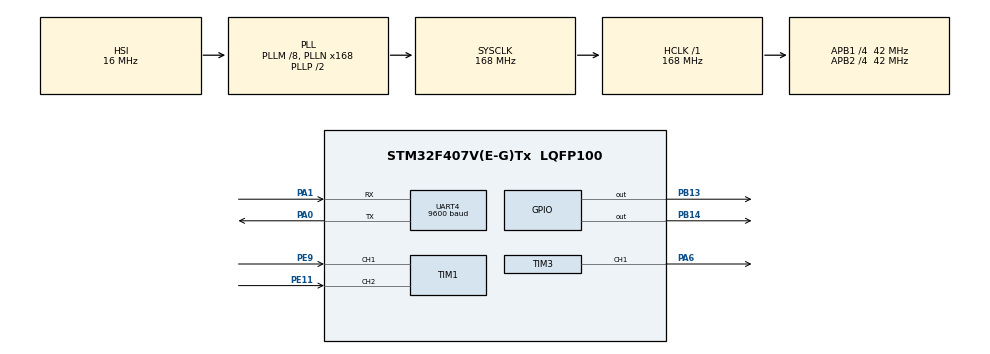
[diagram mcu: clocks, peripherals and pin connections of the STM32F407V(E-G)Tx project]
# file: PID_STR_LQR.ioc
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Dma.Request0=UART4_TX
Dma.UART4_TX.0.Direction=DMA_MEMORY_TO_PERIPH
Dma.UART4_TX.0.FIFOMode=DMA_FIFOMODE_DISABLE
Dma.UART4_TX.0.Instance=DMA1_Stream4
Dma.UART4_TX.0.MemDataAlignment=DMA_MDATAALIGN_BYTE
Dma.UART4_TX.0.MemInc=DMA_MINC_ENABLE
Dma.UART4_TX.0.Mode=DMA_NORMAL
Dma.UART4_TX.0.PeriphDataAlignment=DMA_PDATAALIGN_BYTE
Dma.UART4_TX.0.PeriphInc=DMA_PINC_DISABLE
Dma.UART4_TX.0.Priority=DMA_PRIORITY_HIGH
Mcu.Family=STM32F4
Mcu.Name=STM32F407V(E-G)Tx
Mcu.Package=LQFP100
NVIC.DMA1_Stream4_IRQn=true\:0\:0\:false\:false\:true\:false\:true\:true
NVIC.PriorityGroup=NVIC_PRIORITYGROUP_4
NVIC.TIM4_IRQn=true\:1\:0\:true\:false\:true\:true\:true\:true
NVIC.UART4_IRQn=true\:0\:0\:false\:false\:true\:true\:true\:true
PA0-WKUP.Mode=Asynchronous
PA0-WKUP.Signal=UART4_TX
PA1.Mode=Asynchronous
PA1.Signal=UART4_RX
PA13.Mode=Serial_Wire
PA13.Signal=SYS_JTMS-SWDIO
PA14.Mode=Serial_Wire
PA14.Signal=SYS_JTCK-SWCLK
PA6.Signal=S_TIM3_CH1
PB13.Signal=GPIO_Output
PB14.Signal=GPIO_Output
PE11.Signal=S_TIM1_CH2
PE9.Signal=S_TIM1_CH1
PH0-OSC_IN.Mode=HSE-External-Oscillator
PH0-OSC_IN.Signal=RCC_OSC_IN
PH1-OSC_OUT.Mode=HSE-External-Oscillator
PH1-OSC_OUT.Signal=RCC_OSC_OUT
ProjectManager.HeapSize=0x200
ProjectManager.StackSize=0x400
ProjectManager.TargetToolchain=STM32CubeIDE
RCC.48MHZClocksFreq_Value=84000000
RCC.AHBFreq_Value=168000000
RCC.APB1CLKDivider=RCC_HCLK_DIV4
RCC.APB1Freq_Value=42000000
RCC.APB1TimFreq_Value=84000000
RCC.APB2CLKDivider=RCC_HCLK_DIV4
RCC.APB2Freq_Value=42000000
RCC.APB2TimFreq_Value=84000000
RCC.CortexFreq_Value=168000000
RCC.HCLKFreq_Value=168000000
RCC.HSE_VALUE=8000000
RCC.HSI_VALUE=16000000
RCC.LSE_VALUE=32768
RCC.PLLM=8
RCC.PLLN=168
RCC.SYSCLKFreq_VALUE=168000000
RCC.SYSCLKSource=RCC_SYSCLKSOURCE_PLLCLK
RCC.VCOOutputFreq_Value=336000000
SH.S_TIM1_CH1.0=TIM1_CH1,Encoder_Interface
SH.S_TIM1_CH2.0=TIM1_CH2,Encoder_Interface
SH.S_TIM3_CH1.0=TIM3_CH1,PWM Generation1 CH1
TIM1.EncoderMode=TIM_ENCODERMODE_TI12
TIM3.Channel-PWM\ Generation1\ CH1=TIM_CHANNEL_1
TIM3.Period=100
TIM3.Prescaler=54
TIM4.Period=49
TIM4.Prescaler=8399
UART4.BaudRate=9600
UART4.VirtualMode=Asynchronous
VP_TIM4_VS_ClockSourceINT.Mode=Internal
board=custom

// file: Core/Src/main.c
/* USER CODE BEGIN Header */
/**
  ******************************************************************************
  * @file           : main.c
  * @brief          : Main program body
  ******************************************************************************
  * @attention
  *
  * Copyright (c) 2024 STMicroelectronics.
  * All rights reserved.
  *
  * This software is licensed under terms that can be found in the LICENSE file
  * in the root directory of this software component.
  * If no LICENSE file comes with this software, it is provided AS-IS.
  *
  ******************************************************************************
  */
/* USER CODE END Header */
#include "main.h"

/* USER CODE BEGIN Includes */
#include <stddef.h>
#include <string.h>
#include <stdlib.h>
#include <stdbool.h>
#include <stdint.h>
#include "Motor_Control_STR.h"
#include "Motor_Control_STR_private.h"
#include "user_define.h"
/* USER CODE END Includes */

TIM_HandleTypeDef htim1;
TIM_HandleTypeDef htim3;
TIM_HandleTypeDef htim4;

UART_HandleTypeDef huart4;
DMA_HandleTypeDef hdma_uart4_tx;

/* USER CODE BEGIN PV */
UART_Data t_data;

uint8_t urx_index = 0;
uint8_t urx = 0;
uint8_t urx_buff[MAX_LEN];
uint8_t utx_buff[MAX_LEN];

int16_t icounter;
float dposition;
int iu;

char cposition[10];
char csp[10];
char txbuf[50];
/* USER CODE END PV */

void SystemClock_Config(void);
static void MX_GPIO_Init(void);
static void MX_DMA_Init(void);
static void MX_UART4_Init(void);
static void MX_TIM1_Init(void);
static void MX_TIM3_Init(void);
static void MX_TIM4_Init(void);

/* USER CODE BEGIN 0 */

void rt_OneStep(void)
{
  static boolean_T OverrunFlag = false;

  /* Disable interrupts here */

  /* Check for overrun */
  if (OverrunFlag) {
    rtmSetErrorStatus(Motor_Control_STR_M, "Overrun");
    return;
  }

  OverrunFlag = true;

  /* Save FPU context here (if necessary) */
  /* Re-enable timer or interrupt here */
  /* Set model inputs here */

  /* Step the model */
  Motor_Control_STR_step();

  /* Get model outputs here */

  /* Indicate task complete */
  OverrunFlag = false;

  /* Disable interrupts here */
  /* Restore FPU context here (if necessary) */
  /* Enable interrupts here */
}

void float_to_string(float number, char *buffer) {
    int int_part = (int)number;
    int decimal_part = (int)((number - int_part) * 100);
    if (decimal_part < 0) decimal_part = -decimal_part;

    int index = 0;

    if (number < 0) {
        buffer[index++] = '-';
        int_part = -int_part;
    }

    int temp = int_part;
    int len = 0;
    while (temp > 0) {
        temp /= 10;
        len++;
    }

    for (int i = len - 1; i >= 0; i--) {
        buffer[index + i] = (int_part % 10) + '0';
        int_part /= 10;
    }
    index += len > 0 ? len : 1;
    buffer[index++] = '.';

    buffer[index++] = (decimal_part / 10) + '0';
    buffer[index++] = (decimal_part % 10) + '0';
    buffer[index] = '\0';
}

void process_buffers(float dposition, float sp, char *cposition, char *csp, char *result) {
    if (dposition != 0) {
        float_to_string(dposition, cposition);
    } else {
        strcpy(cposition, "0");
    }

    if (sp != 0) {
        float_to_string(sp, csp);
    } else {
        strcpy(csp, "0");
    }

    result[0] = '\0';
    strcat(result, "Y, ");
    strcat(result, cposition);
    strcat(result, ", ");
    strcat(result, csp);
    strcat(result, "\r\n");
}

bool StrCompare(char *pBuff, uint8_t *pSample, uint8_t nSize)
{
    for (int i = 0; i < nSize; i++)
    {
        if(pBuff[i] != pSample[i])
        {
            return false;
        }
    }
    return true;
}

void process_uart_string(char *uart_string, UART_Data *data) {
    char *token;

    memset(data, 0, sizeof(UART_Data));

    token = strtok(uart_string, " ");
    if (token) {
        strncpy(data->type, token, 3);
        data->type[3] = '\0';
    }

    token = strtok(NULL, " ");
    if (token) data->sp = atof(token);

    if (StrCompare(data->type, (uint8_t *)"PID", 3)) {
        Case = 1.0;
        token = strtok(NULL, " ");
        if (token) data->value1 = atof(token);

        token = strtok(NULL, " ");
        if (token) data->value2 = atof(token);

        token = strtok(NULL, " ");
        if (token) data->value3 = atof(token);
    }
    else if (StrCompare(data->type, (uint8_t *)"STR", 3)) {
        Case = 2.0;
    }
    else if (StrCompare(data->type, (uint8_t *)"LQR", 3)) {
        Case = 3.0;
        token = strtok(NULL, " ");
        if (token) data->value1 = atof(token);

        token = strtok(NULL, " ");
        if (token) data->value2 = atof(token);
    }
    else if (StrCompare(data->type, (uint8_t *)"C", 1)) {
        int count = 0;
        process_buffers(0.0, 0.0, cposition, csp, txbuf);
        while (txbuf[count] != '\0' && txbuf[count] != '\n') {
            count++;
        }
        HAL_UART_Transmit(&UART_COM, (uint8_t*)txbuf, (count + 1), HAL_MAX_DELAY);
    }
    else if (StrCompare(data->type, (uint8_t *)"STO", 3)) {
           Case = 0;
           dposition = 0;
           icounter = 0;
           MOTOR_CONTROL_REGISTER = 0;
       }
}

void motor_set_duty(int32_t iduty)
{
    if (iduty >= 0)
    {
    	MOTOR_CONTROL_REGISTER = iduty;
    	HAL_GPIO_WritePin(DIR_Port, FOWARD_Pin, 1);
    	HAL_GPIO_WritePin(DIR_Port, BACKWARD_Pin, 0);
    }
    else
    {
    	MOTOR_CONTROL_REGISTER = abs(iduty);
    	HAL_GPIO_WritePin(DIR_Port, FOWARD_Pin, 0);
    	HAL_GPIO_WritePin(DIR_Port, BACKWARD_Pin, 1);
    }
}

void motor_read_encoder(float *dpos, TIM_HandleTypeDef *htim)
{

    icounter = (int16_t)htim->Instance->CNT;
    *dpos += ((float)icounter / (float)PPR) * NUMBER_OF_DEGREES_ON_A_CIRCLE;
    htim->Instance->CNT = 0;
}

/* USER CODE END 0 */

int main(void)
{

  /* MCU Configuration--------------------------------------------------------*/

  /* Reset of all peripherals, Initializes the Flash interface and the Systick. */
  HAL_Init();

  /* Configure the system clock */
  SystemClock_Config();

  /* Initialize all configured peripherals */
  MX_GPIO_Init();
  MX_DMA_Init();
  MX_UART4_Init();
  MX_TIM1_Init();
  MX_TIM3_Init();
  MX_TIM4_Init();
  /* USER CODE BEGIN 2 */
  HAL_TIM_Base_Start_IT(&INTERUPT_TIMER);
  HAL_TIM_Encoder_Start(&ECODER_TIMER, TIM_CHANNEL_1);
  HAL_TIM_Encoder_Start(&ECODER_TIMER, TIM_CHANNEL_2);
  HAL_TIM_PWM_Start(&PWM_TIMER, TIM_CHANNEL_1);
  HAL_UART_Receive_IT(&UART_COM, &urx, 1);
  Motor_Control_STR_initialize();

  lamda = 0.92;

  /* USER CODE END 2 */

  /* Infinite loop */
  while (1)
  {

    /* USER CODE BEGIN 3 */
  }
  Motor_Control_STR_terminate();
  return 0;
  /* USER CODE END 3 */
}

void SystemClock_Config(void)
{
  RCC_OscInitTypeDef RCC_OscInitStruct = {0};
  RCC_ClkInitTypeDef RCC_ClkInitStruct = {0};

  /** Configure the main internal regulator output voltage
  */
  __HAL_RCC_PWR_CLK_ENABLE();
  __HAL_PWR_VOLTAGESCALING_CONFIG(PWR_REGULATOR_VOLTAGE_SCALE1);

  /** Initializes the RCC Oscillators according to the specified parameters
  * in the RCC_OscInitTypeDef structure.
  */
  RCC_OscInitStruct.OscillatorType = RCC_OSCILLATORTYPE_HSI;
  RCC_OscInitStruct.HSIState = RCC_HSI_ON;
  RCC_OscInitStruct.HSICalibrationValue = RCC_HSICALIBRATION_DEFAULT;
  RCC_OscInitStruct.PLL.PLLState = RCC_PLL_ON;
  RCC_OscInitStruct.PLL.PLLSource = RCC_PLLSOURCE_HSI;
  RCC_OscInitStruct.PLL.PLLM = 8;
  RCC_OscInitStruct.PLL.PLLN = 168;
  RCC_OscInitStruct.PLL.PLLP = RCC_PLLP_DIV2;
  RCC_OscInitStruct.PLL.PLLQ = 4;
  if (HAL_RCC_OscConfig(&RCC_OscInitStruct) != HAL_OK)
  {
    Error_Handler();
  }

  /** Initializes the CPU, AHB and APB buses clocks
  */
  RCC_ClkInitStruct.ClockType = RCC_CLOCKTYPE_HCLK|RCC_CLOCKTYPE_SYSCLK
                              |RCC_CLOCKTYPE_PCLK1|RCC_CLOCKTYPE_PCLK2;
  RCC_ClkInitStruct.SYSCLKSource = RCC_SYSCLKSOURCE_PLLCLK;
  RCC_ClkInitStruct.AHBCLKDivider = RCC_SYSCLK_DIV1;
  RCC_ClkInitStruct.APB1CLKDivider = RCC_HCLK_DIV4;
  RCC_ClkInitStruct.APB2CLKDivider = RCC_HCLK_DIV4;

  if (HAL_RCC_ClockConfig(&RCC_ClkInitStruct, FLASH_LATENCY_5) != HAL_OK)
  {
    Error_Handler();
  }
}

static void MX_TIM1_Init(void)
{

  TIM_Encoder_InitTypeDef sConfig = {0};
  TIM_MasterConfigTypeDef sMasterConfig = {0};

  htim1.Instance = TIM1;
  htim1.Init.Prescaler = 0;
  htim1.Init.CounterMode = TIM_COUNTERMODE_UP;
  htim1.Init.Period = 65535;
  htim1.Init.ClockDivision = TIM_CLOCKDIVISION_DIV1;
  htim1.Init.RepetitionCounter = 0;
  htim1.Init.AutoReloadPreload = TIM_AUTORELOAD_PRELOAD_DISABLE;
  sConfig.EncoderMode = TIM_ENCODERMODE_TI12;
  sConfig.IC1Polarity = TIM_ICPOLARITY_RISING;
  sConfig.IC1Selection = TIM_ICSELECTION_DIRECTTI;
  sConfig.IC1Prescaler = TIM_ICPSC_DIV1;
  sConfig.IC1Filter = 0;
  sConfig.IC2Polarity = TIM_ICPOLARITY_RISING;
  sConfig.IC2Selection = TIM_ICSELECTION_DIRECTTI;
  sConfig.IC2Prescaler = TIM_ICPSC_DIV1;
  sConfig.IC2Filter = 0;
  if (HAL_TIM_Encoder_Init(&htim1, &sConfig) != HAL_OK)
  {
    Error_Handler();
  }
  sMasterConfig.MasterOutputTrigger = TIM_TRGO_RESET;
  sMasterConfig.MasterSlaveMode = TIM_MASTERSLAVEMODE_DISABLE;
  if (HAL_TIMEx_MasterConfigSynchronization(&htim1, &sMasterConfig) != HAL_OK)
  {
    Error_Handler();
  }

}

static void MX_TIM3_Init(void)
{

  TIM_MasterConfigTypeDef sMasterConfig = {0};
  TIM_OC_InitTypeDef sConfigOC = {0};

  htim3.Instance = TIM3;
  htim3.Init.Prescaler = 54;
  htim3.Init.CounterMode = TIM_COUNTERMODE_UP;
  htim3.Init.Period = 100;
  htim3.Init.ClockDivision = TIM_CLOCKDIVISION_DIV1;
  htim3.Init.AutoReloadPreload = TIM_AUTORELOAD_PRELOAD_DISABLE;
  if (HAL_TIM_PWM_Init(&htim3) != HAL_OK)
  {
    Error_Handler();
  }
  sMasterConfig.MasterOutputTrigger = TIM_TRGO_RESET;
  sMasterConfig.MasterSlaveMode = TIM_MASTERSLAVEMODE_DISABLE;
  if (HAL_TIMEx_MasterConfigSynchronization(&htim3, &sMasterConfig) != HAL_OK)
  {
    Error_Handler();
  }
  sConfigOC.OCMode = TIM_OCMODE_PWM1;
  sConfigOC.Pulse = 0;
  sConfigOC.OCPolarity = TIM_OCPOLARITY_HIGH;
  sConfigOC.OCFastMode = TIM_OCFAST_DISABLE;
  if (HAL_TIM_PWM_ConfigChannel(&htim3, &sConfigOC, TIM_CHANNEL_1) != HAL_OK)
  {
    Error_Handler();
  }
  HAL_TIM_MspPostInit(&htim3);

}

static void MX_TIM4_Init(void)
{

  TIM_ClockConfigTypeDef sClockSourceConfig = {0};
  TIM_MasterConfigTypeDef sMasterConfig = {0};

  htim4.Instance = TIM4;
  htim4.Init.Prescaler = 8399;
  htim4.Init.CounterMode = TIM_COUNTERMODE_UP;
  htim4.Init.Period = 49;
  htim4.Init.ClockDivision = TIM_CLOCKDIVISION_DIV1;
  htim4.Init.AutoReloadPreload = TIM_AUTORELOAD_PRELOAD_DISABLE;
  if (HAL_TIM_Base_Init(&htim4) != HAL_OK)
  {
    Error_Handler();
  }
  sClockSourceConfig.ClockSource = TIM_CLOCKSOURCE_INTERNAL;
  if (HAL_TIM_ConfigClockSource(&htim4, &sClockSourceConfig) != HAL_OK)
  {
    Error_Handler();
  }
  sMasterConfig.MasterOutputTrigger = TIM_TRGO_RESET;
  sMasterConfig.MasterSlaveMode = TIM_MASTERSLAVEMODE_DISABLE;
  if (HAL_TIMEx_MasterConfigSynchronization(&htim4, &sMasterConfig) != HAL_OK)
  {
    Error_Handler();
  }

}

static void MX_UART4_Init(void)
{

  huart4.Instance = UART4;
  huart4.Init.BaudRate = 9600;
  huart4.Init.WordLength = UART_WORDLENGTH_8B;
  huart4.Init.StopBits = UART_STOPBITS_1;
  huart4.Init.Parity = UART_PARITY_NONE;
  huart4.Init.Mode = UART_MODE_TX_RX;
  huart4.Init.HwFlowCtl = UART_HWCONTROL_NONE;
  huart4.Init.OverSampling = UART_OVERSAMPLING_16;
  if (HAL_UART_Init(&huart4) != HAL_OK)
  {
    Error_Handler();
  }

}

static void MX_DMA_Init(void)
{

  /* DMA controller clock enable */
  __HAL_RCC_DMA1_CLK_ENABLE();

  /* DMA interrupt init */
  /* DMA1_Stream4_IRQn interrupt configuration */
  HAL_NVIC_SetPriority(DMA1_Stream4_IRQn, 0, 0);
  HAL_NVIC_EnableIRQ(DMA1_Stream4_IRQn);

}

static void MX_GPIO_Init(void)
{
  GPIO_InitTypeDef GPIO_InitStruct = {0};

  /* GPIO Ports Clock Enable */
  __HAL_RCC_GPIOH_CLK_ENABLE();
  __HAL_RCC_GPIOA_CLK_ENABLE();
  __HAL_RCC_GPIOE_CLK_ENABLE();
  __HAL_RCC_GPIOB_CLK_ENABLE();

  /*Configure GPIO pin Output Level */
  HAL_GPIO_WritePin(GPIOB, GPIO_PIN_13|GPIO_PIN_14, GPIO_PIN_RESET);

  /*Configure GPIO pins : PB13 PB14 */
  GPIO_InitStruct.Pin = GPIO_PIN_13|GPIO_PIN_14;
  GPIO_InitStruct.Mode = GPIO_MODE_OUTPUT_PP;
  GPIO_InitStruct.Pull = GPIO_NOPULL;
  GPIO_InitStruct.Speed = GPIO_SPEED_FREQ_LOW;
  HAL_GPIO_Init(GPIOB, &GPIO_InitStruct);

}

/* USER CODE BEGIN 4 */

// Timer In
void HAL_TIM_PeriodElapsedCallback(TIM_HandleTypeDef *htim)
{
  if (htim->Instance == INTERUPT_TIMER_INSTANCE)
  {
	  int count = 0;

	 // Read encoder
	  motor_read_encoder(&dposition, &ECODER_TIMER);
	 // switch case
	  switch ((int)Case) {
	          case 1:
	        	  Setpoint = t_data.sp;
	        	  Sensor = dposition;
	              Kp = t_data.value1;
	              Ki = t_data.value2;
	              Kd = t_data.value3;
	              rt_OneStep();
	              iu = (int)pwm1;
	              motor_set_duty(iu);

	        	  process_buffers(dposition, t_data.sp, cposition, csp, txbuf);
	        	  while (txbuf[count] != '\0' && txbuf[count] != '\n') {
	        	  	        count++;
	        	  	    }
	        	  HAL_UART_Transmit(&UART_COM, (uint8_t*)txbuf, (count+1), HAL_MAX_DELAY);
	              break;
	          case 2:
	        	  Setpoint = t_data.sp;
	        	  Sensor = dposition;
	        	  rt_OneStep();
	        	  iu = (int)pwm2;
	        	  motor_set_duty(iu);

	        	  process_buffers(dposition, t_data.sp, cposition, csp, txbuf);
	        	  while (txbuf[count] != '\0' && txbuf[count] != '\n') {
	        	  	        count++;
	        	  	    }
	        	  HAL_UART_Transmit(&UART_COM, (uint8_t*)txbuf, (count+1), HAL_MAX_DELAY);
	              break;
	          case 3:
	        	  Setpoint = t_data.sp;
	        	  Sensor = dposition;
	              K1 = t_data.value1;
	              K2 = t_data.value2;
	        	  rt_OneStep();
	        	  iu = (int)pwm3;
	        	  motor_set_duty(iu);

	        	  process_buffers(dposition, t_data.sp, cposition, csp, txbuf);
	        	  while (txbuf[count] != '\0' && txbuf[count] != '\n') {
	        	  	        count++;
	        	  	    }
	        	  HAL_UART_Transmit(&UART_COM, (uint8_t*)txbuf, (count+1), HAL_MAX_DELAY);
	              break;
	          default:
	              break;
	      }

  }
}

// UART Interupt
void HAL_UART_RxCpltCallback(UART_HandleTypeDef *huart)
{
	if (huart->Instance == UART_COM_INSTANCE)
	{
		if (urx != '\n')
		{
			urx_buff[urx_index] = urx;
			urx_index++;
		}
		else
		{
			urx_buff[urx_index] = urx;
			urx_index++;
			process_uart_string((char *)urx_buff, &t_data);
			urx_index = 0;
		}
	}
	HAL_UART_Receive_IT(&UART_COM, &urx, 1);
}

/* USER CODE END 4 */

void Error_Handler(void)
{
  __disable_irq();
  while (1)
  {
  }
}
